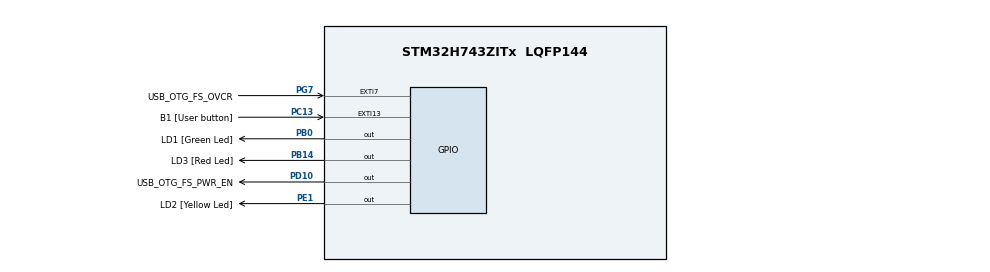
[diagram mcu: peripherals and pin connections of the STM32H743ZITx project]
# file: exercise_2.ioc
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FREERTOS.Tasks01=defaultTask,0,128,StartDefaultTask,Default,NULL,Dynamic,NULL,NULL
FREERTOS.configUSE_NEWLIB_REENTRANT=1
Mcu.Family=STM32H7
Mcu.Name=STM32H743ZITx
Mcu.Package=LQFP144
NVIC.EXTI15_10_IRQn=true\:5\:0\:false\:true\:true\:1\:false\:true\:true\:true
NVIC.PriorityGroup=NVIC_PRIORITYGROUP_4
NVIC.TIM1_UP_IRQn=true\:15\:0\:false\:false\:true\:false\:false\:true\:true
NVIC.TimeBase=TIM1_UP_IRQn
NVIC.TimeBaseIP=TIM1
PA1.Signal=ETH_REF_CLK
PA11.Signal=USB_OTG_FS_DM
PA12.Signal=USB_OTG_FS_DP
PA2.Signal=ETH_MDIO
PA7.Signal=ETH_CRS_DV
PA8.Signal=USB_OTG_FS_SOF
PA9.Signal=USB_OTG_FS_VBUS
PB0.GPIO_Label=LD1 [Green Led]
PB0.Signal=GPIO_Output
PB13.Signal=ETH_TXD1
PB14.GPIO_Label=LD3 [Red Led]
PB14.Signal=GPIO_Output
PC1.Signal=ETH_MDC
PC13.GPIO_Label=B1 [User button]
PC13.Signal=GPXTI13
PC14-OSC32_IN\ (OSC32_IN).Signal=RCC_OSC32_IN
PC15-OSC32_OUT\ (OSC32_OUT).Signal=RCC_OSC32_OUT
PC4.Signal=ETH_RXD0
PC5.Signal=ETH_RXD1
PD10.GPIO_Label=USB_OTG_FS_PWR_EN
PD10.Signal=GPIO_Output
PD8.GPIO_Label=STLINK_RX
PD8.Signal=USART3_TX
PD9.GPIO_Label=STLINK_TX
PD9.Signal=USART3_RX
PE1.GPIO_Label=LD2 [Yellow Led]
PE1.Signal=GPIO_Output
PG11.Signal=ETH_TX_EN
PG13.Signal=ETH_TXD0
PG7.GPIO_Label=USB_OTG_FS_OVCR
PG7.Signal=GPXTI7
PH0-OSC_IN\ (PH0).Signal=RCC_OSC_IN
PH1-OSC_OUT\ (PH1).Signal=RCC_OSC_OUT
ProjectManager.HeapSize=0x200
ProjectManager.StackSize=0x400
ProjectManager.TargetToolchain=STM32CubeIDE
RCC.ADCFreq_Value=129000000
RCC.APB1Freq_Value=64000000
RCC.APB2Freq_Value=64000000
RCC.APB3Freq_Value=64000000
RCC.APB4Freq_Value=64000000
RCC.CortexFreq_Value=64000000
RCC.HCLKFreq_Value=64000000
RCC.SYSCLKFreq_VALUE=64000000
RCC.USBFreq_Value=129000000
VP_FREERTOS_VS_CMSIS_V1.Mode=CMSIS_V1
VP_SYS_VS_tim1.Mode=TIM1
board=NUCLEO-H743ZI2

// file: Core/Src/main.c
/* USER CODE BEGIN Header */
/**
  ******************************************************************************
  * @file           : main.c
  * @brief          : Main program body
  ******************************************************************************
  * @attention
  *
  * Copyright (c) 2025 STMicroelectronics.
  * All rights reserved.
  *
  * This software is licensed under terms that can be found in the LICENSE file
  * in the root directory of this software component.
  * If no LICENSE file comes with this software, it is provided AS-IS.
  *
  ******************************************************************************
  */
/* USER CODE END Header */
#include "main.h"
#include "cmsis_os.h"

/* USER CODE BEGIN Includes */
#include "stdio.h"
#include "semphr.h"
/* USER CODE END Includes */

osThreadId defaultTaskHandle;
/* USER CODE BEGIN PV */

xSemaphoreHandle xEvent_ButtonISR;
xSemaphoreHandle xEvent_ButtonPressed;
xSemaphoreHandle xEvent_CounterOVF;

osThreadId LedTaskHandle;
osThreadId ButtonTaskHandle;
osThreadId CounterTaskHandle;

uint8_t buttonCounter = 0;
/* USER CODE END PV */

void SystemClock_Config(void);
static void MX_GPIO_Init(void);
void StartDefaultTask(void const * argument);

static void MX_NVIC_Init(void);
/* USER CODE BEGIN PFP */

void StartLedTask(void const * argument);
void StartButtonTask(void const * argument);
void StartCounterTask(void const * argument);

/* USER CODE END PFP */

/* USER CODE BEGIN 0 */

int _write(int file, char *ptr, int len)
{
	/* Implement your write code here, this is used by puts and printf for example */
	int i=0;
	for(i=0 ; i<len ; i++)	ITM_SendChar((*ptr++));

	return len;
}

/* USER CODE END 0 */

int main(void)
{
  /* USER CODE BEGIN 1 */

	printf("Entered main function\n\n");

  /* USER CODE END 1 */

  /* MCU Configuration--------------------------------------------------------*/

  /* Reset of all peripherals, Initializes the Flash interface and the Systick. */
  HAL_Init();

  /* USER CODE BEGIN Init */
  printf("Seriously entered main function1\n\n");
  /* USER CODE END Init */

  /* Configure the system clock */
  SystemClock_Config();

  /* USER CODE BEGIN SysInit */
  printf("Seriously entered main function2\n\n");
  /* USER CODE END SysInit */

  /* Initialize all configured peripherals */
  MX_GPIO_Init();

  /* Initialize interrupts */
  MX_NVIC_Init();
  /* USER CODE BEGIN 2 */
  printf("Seriously entered main function3\n\n");
  /* USER CODE END 2 */

  /* USER CODE BEGIN RTOS_SEMAPHORES */
  /* add semaphores, ... */
  printf("Creating semaphores\n");

  xEvent_ButtonISR = xSemaphoreCreateBinary();
  xEvent_ButtonPressed = xSemaphoreCreateBinary();
  xEvent_CounterOVF = xSemaphoreCreateBinary();

  printf("Created semaphores\n");
  /* USER CODE END RTOS_SEMAPHORES */

  /* Create the thread(s) */
  /* definition and creation of defaultTask */
  osThreadDef(defaultTask, StartDefaultTask, osPriorityNormal, 0, 128);
  defaultTaskHandle = osThreadCreate(osThread(defaultTask), NULL);

  /* USER CODE BEGIN RTOS_THREADS */
  /* add threads, ... */
  printf("Creating tasks\n");
  osThreadDef(LDTask, StartLedTask, osPriorityHigh, 0, 128);
  LedTaskHandle = osThreadCreate(osThread(LDTask), NULL);

  osThreadDef(CntTask, StartCounterTask, osPriorityAboveNormal, 0, 128);
  CounterTaskHandle = osThreadCreate(osThread(CntTask), NULL);

  osThreadDef(BtnTask, StartButtonTask, osPriorityNormal, 0, 128);
  ButtonTaskHandle = osThreadCreate(osThread(BtnTask), NULL);
  printf("Created tasks\n\n");

  printf("Starting scheduler\n");
  /* USER CODE END RTOS_THREADS */

  /* Start scheduler */
  osKernelStart();

  /* We should never get here as control is now taken by the scheduler */
  /* Infinite loop */
  /* USER CODE BEGIN WHILE */
  printf("ERROR: Left OS KERNEL!\n");
  while (1)
  {
    /* USER CODE END WHILE */

  }
}

void SystemClock_Config(void)
{
  LL_FLASH_SetLatency(LL_FLASH_LATENCY_1);
  while(LL_FLASH_GetLatency()!= LL_FLASH_LATENCY_1)
  {
  }
  LL_PWR_ConfigSupply(LL_PWR_LDO_SUPPLY);
  LL_PWR_SetRegulVoltageScaling(LL_PWR_REGU_VOLTAGE_SCALE3);
  LL_RCC_HSI_Enable();

   /* Wait till HSI is ready */
  while(LL_RCC_HSI_IsReady() != 1)
  {

  }
  LL_RCC_HSI_SetCalibTrimming(32);
  LL_RCC_HSI_SetDivider(LL_RCC_HSI_DIV1);
  LL_RCC_SetSysClkSource(LL_RCC_SYS_CLKSOURCE_HSI);

   /* Wait till System clock is ready */
  while(LL_RCC_GetSysClkSource() != LL_RCC_SYS_CLKSOURCE_STATUS_HSI)
  {

  }
  LL_RCC_SetSysPrescaler(LL_RCC_SYSCLK_DIV_1);
  LL_RCC_SetAHBPrescaler(LL_RCC_AHB_DIV_1);
  LL_RCC_SetAPB1Prescaler(LL_RCC_APB1_DIV_1);
  LL_RCC_SetAPB2Prescaler(LL_RCC_APB2_DIV_1);
  LL_RCC_SetAPB3Prescaler(LL_RCC_APB3_DIV_1);
  LL_RCC_SetAPB4Prescaler(LL_RCC_APB4_DIV_1);
  LL_SetSystemCoreClock(64000000);

   /* Update the time base */
  if (HAL_InitTick (TICK_INT_PRIORITY) != HAL_OK)
  {
    Error_Handler();
  }
}

/**
  * @brief NVIC Configuration.
  * @retval None
  */
static void MX_NVIC_Init(void)
{
  /* EXTI15_10_IRQn interrupt configuration */
  NVIC_SetPriority(EXTI15_10_IRQn, NVIC_EncodePriority(NVIC_GetPriorityGrouping(),5, 0));
  NVIC_EnableIRQ(EXTI15_10_IRQn);
}

static void MX_GPIO_Init(void)
{
  LL_EXTI_InitTypeDef EXTI_InitStruct = {0};
  LL_GPIO_InitTypeDef GPIO_InitStruct = {0};

  /* GPIO Ports Clock Enable */
  LL_AHB4_GRP1_EnableClock(LL_AHB4_GRP1_PERIPH_GPIOC);
  LL_AHB4_GRP1_EnableClock(LL_AHB4_GRP1_PERIPH_GPIOH);
  LL_AHB4_GRP1_EnableClock(LL_AHB4_GRP1_PERIPH_GPIOA);
  LL_AHB4_GRP1_EnableClock(LL_AHB4_GRP1_PERIPH_GPIOB);
  LL_AHB4_GRP1_EnableClock(LL_AHB4_GRP1_PERIPH_GPIOD);
  LL_AHB4_GRP1_EnableClock(LL_AHB4_GRP1_PERIPH_GPIOG);
  LL_AHB4_GRP1_EnableClock(LL_AHB4_GRP1_PERIPH_GPIOE);

  /**/
  LL_GPIO_ResetOutputPin(GPIOB, LD1_Pin|LD3_Pin);

  /**/
  LL_GPIO_ResetOutputPin(USB_OTG_FS_PWR_EN_GPIO_Port, USB_OTG_FS_PWR_EN_Pin);

  /**/
  LL_GPIO_ResetOutputPin(LD2_GPIO_Port, LD2_Pin);

  /**/
  LL_SYSCFG_SetEXTISource(LL_SYSCFG_EXTI_PORTC, LL_SYSCFG_EXTI_LINE13);

  /**/
  LL_SYSCFG_SetEXTISource(LL_SYSCFG_EXTI_PORTG, LL_SYSCFG_EXTI_LINE7);

  /**/
  EXTI_InitStruct.Line_0_31 = LL_EXTI_LINE_13;
  EXTI_InitStruct.Line_32_63 = LL_EXTI_LINE_NONE;
  EXTI_InitStruct.Line_64_95 = LL_EXTI_LINE_NONE;
  EXTI_InitStruct.LineCommand = ENABLE;
  EXTI_InitStruct.Mode = LL_EXTI_MODE_IT;
  EXTI_InitStruct.Trigger = LL_EXTI_TRIGGER_RISING;
  LL_EXTI_Init(&EXTI_InitStruct);

  /**/
  EXTI_InitStruct.Line_0_31 = LL_EXTI_LINE_7;
  EXTI_InitStruct.Line_32_63 = LL_EXTI_LINE_NONE;
  EXTI_InitStruct.Line_64_95 = LL_EXTI_LINE_NONE;
  EXTI_InitStruct.LineCommand = ENABLE;
  EXTI_InitStruct.Mode = LL_EXTI_MODE_IT;
  EXTI_InitStruct.Trigger = LL_EXTI_TRIGGER_RISING;
  LL_EXTI_Init(&EXTI_InitStruct);

  /**/
  LL_GPIO_SetPinPull(B1_GPIO_Port, B1_Pin, LL_GPIO_PULL_NO);

  /**/
  LL_GPIO_SetPinPull(USB_OTG_FS_OVCR_GPIO_Port, USB_OTG_FS_OVCR_Pin, LL_GPIO_PULL_NO);

  /**/
  LL_GPIO_SetPinMode(B1_GPIO_Port, B1_Pin, LL_GPIO_MODE_INPUT);

  /**/
  LL_GPIO_SetPinMode(USB_OTG_FS_OVCR_GPIO_Port, USB_OTG_FS_OVCR_Pin, LL_GPIO_MODE_INPUT);

  /**/
  GPIO_InitStruct.Pin = LL_GPIO_PIN_1|LL_GPIO_PIN_4|LL_GPIO_PIN_5;
  GPIO_InitStruct.Mode = LL_GPIO_MODE_ALTERNATE;
  GPIO_InitStruct.Speed = LL_GPIO_SPEED_FREQ_LOW;
  GPIO_InitStruct.OutputType = LL_GPIO_OUTPUT_PUSHPULL;
  GPIO_InitStruct.Pull = LL_GPIO_PULL_NO;
  GPIO_InitStruct.Alternate = LL_GPIO_AF_11;
  LL_GPIO_Init(GPIOC, &GPIO_InitStruct);

  /**/
  GPIO_InitStruct.Pin = LL_GPIO_PIN_1|LL_GPIO_PIN_2|LL_GPIO_PIN_7;
  GPIO_InitStruct.Mode = LL_GPIO_MODE_ALTERNATE;
  GPIO_InitStruct.Speed = LL_GPIO_SPEED_FREQ_LOW;
  GPIO_InitStruct.OutputType = LL_GPIO_OUTPUT_PUSHPULL;
  GPIO_InitStruct.Pull = LL_GPIO_PULL_NO;
  GPIO_InitStruct.Alternate = LL_GPIO_AF_11;
  LL_GPIO_Init(GPIOA, &GPIO_InitStruct);

  /**/
  GPIO_InitStruct.Pin = LD1_Pin|LD3_Pin;
  GPIO_InitStruct.Mode = LL_GPIO_MODE_OUTPUT;
  GPIO_InitStruct.Speed = LL_GPIO_SPEED_FREQ_LOW;
  GPIO_InitStruct.OutputType = LL_GPIO_OUTPUT_PUSHPULL;
  GPIO_InitStruct.Pull = LL_GPIO_PULL_NO;
  LL_GPIO_Init(GPIOB, &GPIO_InitStruct);

  /**/
  GPIO_InitStruct.Pin = LL_GPIO_PIN_13;
  GPIO_InitStruct.Mode = LL_GPIO_MODE_ALTERNATE;
  GPIO_InitStruct.Speed = LL_GPIO_SPEED_FREQ_LOW;
  GPIO_InitStruct.OutputType = LL_GPIO_OUTPUT_PUSHPULL;
  GPIO_InitStruct.Pull = LL_GPIO_PULL_NO;
  GPIO_InitStruct.Alternate = LL_GPIO_AF_11;
  LL_GPIO_Init(GPIOB, &GPIO_InitStruct);

  /**/
  GPIO_InitStruct.Pin = STLINK_RX_Pin|STLINK_TX_Pin;
  GPIO_InitStruct.Mode = LL_GPIO_MODE_ALTERNATE;
  GPIO_InitStruct.Speed = LL_GPIO_SPEED_FREQ_LOW;
  GPIO_InitStruct.OutputType = LL_GPIO_OUTPUT_PUSHPULL;
  GPIO_InitStruct.Pull = LL_GPIO_PULL_NO;
  GPIO_InitStruct.Alternate = LL_GPIO_AF_7;
  LL_GPIO_Init(GPIOD, &GPIO_InitStruct);

  /**/
  GPIO_InitStruct.Pin = USB_OTG_FS_PWR_EN_Pin;
  GPIO_InitStruct.Mode = LL_GPIO_MODE_OUTPUT;
  GPIO_InitStruct.Speed = LL_GPIO_SPEED_FREQ_LOW;
  GPIO_InitStruct.OutputType = LL_GPIO_OUTPUT_PUSHPULL;
  GPIO_InitStruct.Pull = LL_GPIO_PULL_NO;
  LL_GPIO_Init(USB_OTG_FS_PWR_EN_GPIO_Port, &GPIO_InitStruct);

  /**/
  GPIO_InitStruct.Pin = LL_GPIO_PIN_8|LL_GPIO_PIN_11|LL_GPIO_PIN_12;
  GPIO_InitStruct.Mode = LL_GPIO_MODE_ALTERNATE;
  GPIO_InitStruct.Speed = LL_GPIO_SPEED_FREQ_LOW;
  GPIO_InitStruct.OutputType = LL_GPIO_OUTPUT_PUSHPULL;
  GPIO_InitStruct.Pull = LL_GPIO_PULL_NO;
  GPIO_InitStruct.Alternate = LL_GPIO_AF_10;
  LL_GPIO_Init(GPIOA, &GPIO_InitStruct);

  /**/
  GPIO_InitStruct.Pin = LL_GPIO_PIN_11|LL_GPIO_PIN_13;
  GPIO_InitStruct.Mode = LL_GPIO_MODE_ALTERNATE;
  GPIO_InitStruct.Speed = LL_GPIO_SPEED_FREQ_LOW;
  GPIO_InitStruct.OutputType = LL_GPIO_OUTPUT_PUSHPULL;
  GPIO_InitStruct.Pull = LL_GPIO_PULL_NO;
  GPIO_InitStruct.Alternate = LL_GPIO_AF_11;
  LL_GPIO_Init(GPIOG, &GPIO_InitStruct);

  /**/
  GPIO_InitStruct.Pin = LD2_Pin;
  GPIO_InitStruct.Mode = LL_GPIO_MODE_OUTPUT;
  GPIO_InitStruct.Speed = LL_GPIO_SPEED_FREQ_LOW;
  GPIO_InitStruct.OutputType = LL_GPIO_OUTPUT_PUSHPULL;
  GPIO_InitStruct.Pull = LL_GPIO_PULL_NO;
  LL_GPIO_Init(LD2_GPIO_Port, &GPIO_InitStruct);

}

/* USER CODE BEGIN 4 */

uint8_t ButtonCounter = 0;
void UserButtonCallback(void)
{
	BaseType_t xHigherPriorityTaskWoken = pdTRUE;
	xSemaphoreGiveFromISR(xEvent_ButtonISR, &xHigherPriorityTaskWoken);
	portYIELD_FROM_ISR( xHigherPriorityTaskWoken );
}

void StartButtonTask(void const * argument)
{
	// Task Initialization

	// Task Loop
	for(;;)
	{
		xSemaphoreTake(xEvent_ButtonISR, portMAX_DELAY);
		for(uint16_t i = 0; i < 100; i++);
		if(HAL_GPIO_ReadPin(B1_GPIO_Port, B1_Pin))
		{
//			ButtonCounter++;
			xSemaphoreGive(xEvent_ButtonPressed);
		}
	}
}

void StartCounterTask(void const * argumnet)
{
	// Task Initialization

	// Task Loop
	for(;;)
	{
		xSemaphoreTake(xEvent_ButtonPressed, portMAX_DELAY);

		if(buttonCounter < 2)
		{
			buttonCounter++;
		}
		else
		{
			buttonCounter = 0;

			xSemaphoreGive(xEvent_CounterOVF);
		}
		printf("Counter = %u\n", buttonCounter);

	}
}

void StartLedTask(void const * argument)
{
	// Task Initialization
	HAL_GPIO_WritePin(LD1_GPIO_Port, LD1_Pin, GPIO_PIN_RESET);

	// Task Loop
	for(;;)
	{
		xSemaphoreTake(xEvent_CounterOVF, portMAX_DELAY);
		HAL_GPIO_TogglePin(LD1_GPIO_Port, LD1_Pin);
	}
}

/* USER CODE END 4 */

void StartDefaultTask(void const * argument)
{
  for(;;)
  {
    osDelay(1);
  }
}

void HAL_TIM_PeriodElapsedCallback(TIM_HandleTypeDef *htim)
{
  if (htim->Instance == TIM1) {
    HAL_IncTick();
  }
}

void Error_Handler(void)
{
  __disable_irq();
  while (1)
  {
  }
}
